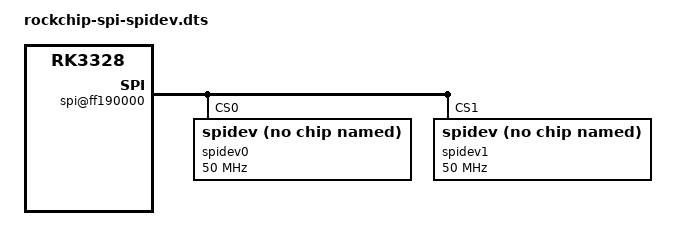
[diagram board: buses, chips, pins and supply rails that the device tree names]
/dts-v1/;
/plugin/;

/{
    compatible = "rockchip,rk3328";

    fragment@0 {
        target-path = "/spi@ff190000";
        __overlay__ {
            status = "okay";
            #address-cells = <1>;
            #size-cells = <0>;

            spidev0: spidev@0 {
                compatible = "spidev";
                reg = <0>;
                spi-max-frequency = <50000000>;
                status = "okay";
            };

            spidev1: spidev@1 {
                compatible = "spidev";
                reg = <1>;
                spi-max-frequency = <50000000>;
                status = "okay";
            };
        };
    };
};
